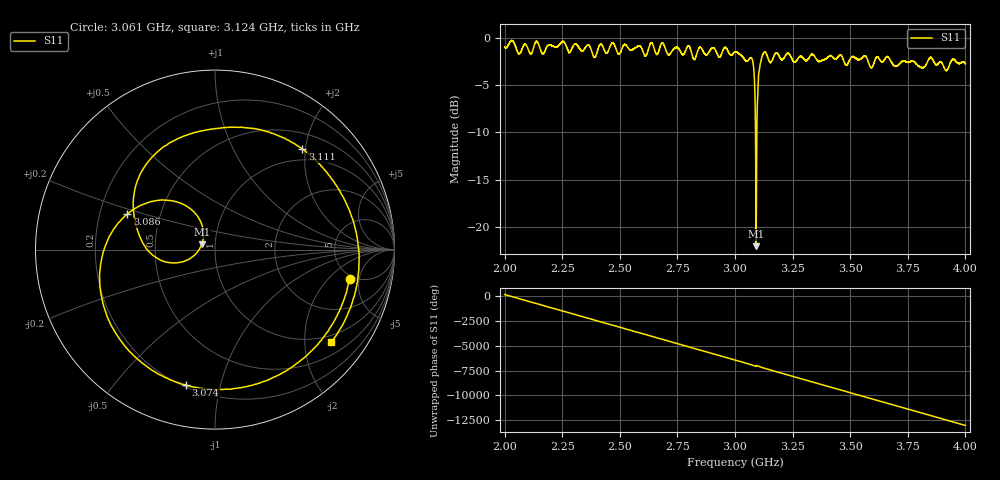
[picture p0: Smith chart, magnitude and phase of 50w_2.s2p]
!Agilent Technologies,E8362B,MY43021131,A.07.50.67
!Agilent E8362B: A.07.50.67
!Date: Thursday, March 14, 2024 13:47:43
!Correction: S11(Off)
!S21(Off)
!S12(Off)
!S22(Off)
!S2P File: Measurements: S11, S21, S12, S22:
# Hz S  RI  R 50
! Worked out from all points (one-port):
!   20001 points, 2 GHz to 4 GHz, reference 50 ohm
!   lowest |S11| = -22.0 dB at 3.092 GHz (marker M1), VSWR 1.17, Z = 43 + j2.51 ohm
!   |S11| at or under -10 dB: 3.08902 GHz to 3.09463 GHz (5.61 MHz wide, 0.181 % of centre)
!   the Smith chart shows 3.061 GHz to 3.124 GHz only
!   S11 on the Smith chart (normalised r, x): 3.061 GHz: 4.60, -3.65; 3.074 GHz: 0.21, -0.78; 3.086 GHz: 0.32, +0.17; 3.111 GHz: 0.78, +1.94; 3.124 GHz: 0.80, -2.65
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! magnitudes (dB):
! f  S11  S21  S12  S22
! 2 GHz  -1.0  -  -  -
! 2.333 GHz  -1.4  -  -  -
! 2.667 GHz  -1.6  -  -  -
! 3 GHz  -1.5  -  -  -
! 3.061 GHz  -2.3  -  -  -
! 3.074 GHz  -2.3  -  -  -
! 3.079 GHz  -2.8  -  -  -
! 3.086 GHz  -5.6  -  -  -
! 3.092 GHz  -22.0  -  -  -
! 3.099 GHz  -5.9  -  -  -
! 3.104 GHz  -3.6  -  -  -
! 3.111 GHz  -2.6  -  -  -
! 3.124 GHz  -1.6  -  -  -
! 3.333 GHz  -1.8  -  -  -
! 3.483 GHz  -2.9  -  -  -
! 3.563 GHz  -1.9  -  -  -
! 3.592 GHz  -3.2  -  -  -
! 3.667 GHz  -2.1  -  -  -
! 3.812 GHz  -3.2  -  -  -
! 3.85 GHz  -2.1  -  -  -
! 3.917 GHz  -3.5  -  -  -
! 4 GHz  -2.8  -  -  -
